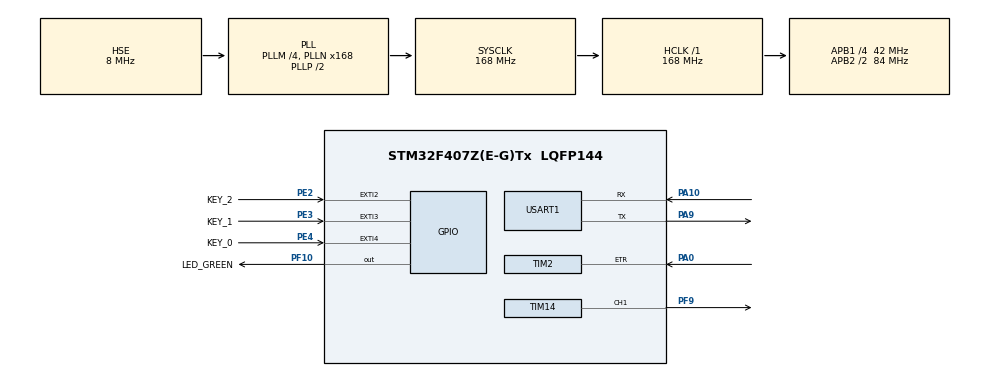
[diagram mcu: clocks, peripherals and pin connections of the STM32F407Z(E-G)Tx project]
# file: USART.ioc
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Mcu.Family=STM32F4
Mcu.Name=STM32F407Z(E-G)Tx
Mcu.Package=LQFP144
NVIC.EXTI2_IRQn=true\:1\:0\:true\:false\:true\:true\:true\:true
NVIC.EXTI3_IRQn=true\:2\:0\:true\:false\:true\:true\:true\:true
NVIC.EXTI4_IRQn=true\:3\:0\:true\:false\:true\:true\:true\:true
NVIC.PriorityGroup=NVIC_PRIORITYGROUP_4
NVIC.TIM2_IRQn=true\:0\:0\:false\:false\:true\:true\:true\:true
PA0-WKUP.Signal=S_TIM2_CH1_ETR
PA10.Mode=Asynchronous
PA10.Signal=USART1_RX
PA9.Mode=Asynchronous
PA9.Signal=USART1_TX
PB8.Signal=I2C1_SCL
PB9.Signal=I2C1_SDA
PC14-OSC32_IN.Mode=LSE-External-Oscillator
PC14-OSC32_IN.Signal=RCC_OSC32_IN
PC15-OSC32_OUT.Mode=LSE-External-Oscillator
PC15-OSC32_OUT.Signal=RCC_OSC32_OUT
PE2.GPIO_Label=KEY_2
PE2.GPIO_ModeDefaultEXTI=GPIO_MODE_IT_RISING
PE2.GPIO_PuPd=GPIO_PULLUP
PE2.Signal=GPXTI2
PE3.GPIO_Label=KEY_1
PE3.GPIO_ModeDefaultEXTI=GPIO_MODE_IT_FALLING
PE3.GPIO_PuPd=GPIO_PULLUP
PE3.Signal=GPXTI3
PE4.GPIO_Label=KEY_0
PE4.GPIO_ModeDefaultEXTI=GPIO_MODE_IT_RISING_FALLING
PE4.GPIO_PuPd=GPIO_PULLUP
PE4.Signal=GPXTI4
PF10.GPIO_Label=LED_GREEN
PF10.GPIO_PuPd=GPIO_PULLUP
PF10.Signal=GPIO_Output
PF9.GPIO_PuPd=GPIO_PULLUP
PF9.Signal=S_TIM14_CH1
PH0-OSC_IN.Mode=HSE-External-Oscillator
PH0-OSC_IN.Signal=RCC_OSC_IN
PH1-OSC_OUT.Mode=HSE-External-Oscillator
PH1-OSC_OUT.Signal=RCC_OSC_OUT
ProjectManager.HeapSize=0x200
ProjectManager.StackSize=0x400
ProjectManager.TargetToolchain=MDK-ARM V5.32
RCC.48MHZClocksFreq_Value=84000000
RCC.AHBFreq_Value=168000000
RCC.APB1CLKDivider=RCC_HCLK_DIV4
RCC.APB1Freq_Value=42000000
RCC.APB1TimFreq_Value=84000000
RCC.APB2CLKDivider=RCC_HCLK_DIV2
RCC.APB2Freq_Value=84000000
RCC.APB2TimFreq_Value=168000000
RCC.CortexFreq_Value=168000000
RCC.HCLKFreq_Value=168000000
RCC.HSE_VALUE=8000000
RCC.HSI_VALUE=16000000
RCC.PLLM=4
RCC.PLLN=168
RCC.PLLSourceVirtual=RCC_PLLSOURCE_HSE
RCC.SYSCLKFreq_VALUE=168000000
RCC.SYSCLKSource=RCC_SYSCLKSOURCE_PLLCLK
RCC.VCOOutputFreq_Value=336000000
SH.S_TIM14_CH1.0=TIM14_CH1,PWM Generation1 CH1
SH.S_TIM2_CH1_ETR.0=TIM2_ETR,ClockSourceETR_Mode2
TIM14.AutoReloadPreload=TIM_AUTORELOAD_PRELOAD_ENABLE
TIM14.Channel=TIM_CHANNEL_1
TIM14.Period=500-1
TIM14.Prescaler=84-1
TIM14.Pulse=50
TIM2.AutoReloadPreload=TIM_AUTORELOAD_PRELOAD_ENABLE
TIM2.Period=50
USART1.VirtualMode=VM_ASYNC
VP_TIM14_VS_ClockSourceINT.Mode=Enable_Timer
board=custom

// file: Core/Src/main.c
/* USER CODE BEGIN Header */
/**
  ******************************************************************************
  * @file           : main.c
  * @brief          : Main program body
  ******************************************************************************
  * @attention
  *
  * Copyright (c) 2024 STMicroelectronics.
  * All rights reserved.
  *
  * This software is licensed under terms that can be found in the LICENSE file
  * in the root directory of this software component.
  * If no LICENSE file comes with this software, it is provided AS-IS.
  *
  ******************************************************************************
  */
/* USER CODE END Header */
#include "main.h"
#include "tim.h"
#include "usart.h"
#include "gpio.h"

/* USER CODE BEGIN Includes */
#include "string.h"
#include <stdio.h>

/* USER CODE END Includes */

/* USER CODE BEGIN PV */

uint32_t count = 0;
uint32_t timer6_count = 0;

/* USER CODE END PV */

void SystemClock_Config(void);

int main(void)
{

  /* MCU Configuration--------------------------------------------------------*/

  /* Reset of all peripherals, Initializes the Flash interface and the Systick. */
  HAL_Init();

  /* Configure the system clock */
  SystemClock_Config();

  /* Initialize all configured peripherals */
  MX_GPIO_Init();
  MX_USART1_UART_Init();
  MX_TIM2_Init();
  MX_TIM14_Init();
  /* USER CODE BEGIN 2 */

  HAL_TIM_Base_Start_IT(&htim2);//在这个地方加入定时器中断启动函数
	HAL_TIM_Base_Start(&htim14);
	HAL_TIM_PWM_Start(&htim14, TIM_CHANNEL_1);

  char *msg = "Hello, USART!\r\n";
  HAL_UART_Transmit(&huart1, (uint8_t *)msg, strlen(msg), HAL_MAX_DELAY);

  /* USER CODE END 2 */

  /* Infinite loop */
  /* USER CODE BEGIN WHILE */
	uint16_t led0pwmval=0;
	uint8_t dir=1;
  while (1)
  {
 		HAL_Delay(10);
		if(dir)led0pwmval++;//dir==1 led0pwmvalµÝÔö
		else led0pwmval--;	//dir==0 led0pwmvalµÝ¼õ
 		if(led0pwmval>500)dir=0;//led0pwmvalµ½´ï300ºó£¬·½ÏòÎªµÝ¼õ
		if(led0pwmval==0)dir=1;	//led0pwmvalµÝ¼õµ½0ºó£¬·½Ïò¸ÄÎªµÝÔö

		__HAL_TIM_SET_COMPARE(&htim14, TIM_CHANNEL_1, led0pwmval);
    /* USER CODE END WHILE */

  }
}

void SystemClock_Config(void)
{
  RCC_OscInitTypeDef RCC_OscInitStruct = {0};
  RCC_ClkInitTypeDef RCC_ClkInitStruct = {0};

  /** Configure the main internal regulator output voltage
  */
  __HAL_RCC_PWR_CLK_ENABLE();
  __HAL_PWR_VOLTAGESCALING_CONFIG(PWR_REGULATOR_VOLTAGE_SCALE1);

  /** Initializes the RCC Oscillators according to the specified parameters
  * in the RCC_OscInitTypeDef structure.
  */
  RCC_OscInitStruct.OscillatorType = RCC_OSCILLATORTYPE_HSE;
  RCC_OscInitStruct.HSEState = RCC_HSE_ON;
  RCC_OscInitStruct.PLL.PLLState = RCC_PLL_ON;
  RCC_OscInitStruct.PLL.PLLSource = RCC_PLLSOURCE_HSE;
  RCC_OscInitStruct.PLL.PLLM = 4;
  RCC_OscInitStruct.PLL.PLLN = 168;
  RCC_OscInitStruct.PLL.PLLP = RCC_PLLP_DIV2;
  RCC_OscInitStruct.PLL.PLLQ = 4;
  if (HAL_RCC_OscConfig(&RCC_OscInitStruct) != HAL_OK)
  {
    Error_Handler();
  }

  /** Initializes the CPU, AHB and APB buses clocks
  */
  RCC_ClkInitStruct.ClockType = RCC_CLOCKTYPE_HCLK|RCC_CLOCKTYPE_SYSCLK
                              |RCC_CLOCKTYPE_PCLK1|RCC_CLOCKTYPE_PCLK2;
  RCC_ClkInitStruct.SYSCLKSource = RCC_SYSCLKSOURCE_PLLCLK;
  RCC_ClkInitStruct.AHBCLKDivider = RCC_SYSCLK_DIV1;
  RCC_ClkInitStruct.APB1CLKDivider = RCC_HCLK_DIV4;
  RCC_ClkInitStruct.APB2CLKDivider = RCC_HCLK_DIV2;

  if (HAL_RCC_ClockConfig(&RCC_ClkInitStruct, FLASH_LATENCY_5) != HAL_OK)
  {
    Error_Handler();
  }
}

/* USER CODE BEGIN 4 */

void HAL_GPIO_EXTI_Callback(uint16_t GPIO_Pin)
{
  if (GPIO_Pin == GPIO_PIN_2) {
    HAL_Delay(10);
    if (GPIO_Pin == GPIO_PIN_2) {
      HAL_GPIO_TogglePin (GPIOF, LED_GREEN_Pin);
      count++;
      char buffer[11]; // uint32_t 最大值为10位数 + 1 位结束符
      snprintf(buffer, sizeof(buffer), "%lu\r\n", count); // 使用snprintf将数字转换为字符串
      HAL_UART_Transmit(&huart1, (uint8_t *)buffer, strlen(buffer), HAL_MAX_DELAY);
    }
  }
	// HAL_Delay(100);
  __HAL_GPIO_EXTI_CLEAR_IT(GPIO_Pin);
}

/**
  * @brief  Period elapsed callback in non-blocking mode
  * @param  htim TIM handle
  * @retval None
  */
void HAL_TIM_PeriodElapsedCallback(TIM_HandleTypeDef *htim)
{
  if (htim == &htim2) {
    timer6_count++;
    char buffer[11]; // uint32_t 最大值为10位数 + 1 位结束符
    snprintf(buffer, sizeof(buffer), "%lu\r\n", timer6_count); // 使用snprintf将数字转换为字符串
    HAL_UART_Transmit(&huart1, (uint8_t *)buffer, strlen(buffer), HAL_MAX_DELAY);
  }
}

/* USER CODE END 4 */

void Error_Handler(void)
{
  __disable_irq();
  while (1)
  {
  }
}
